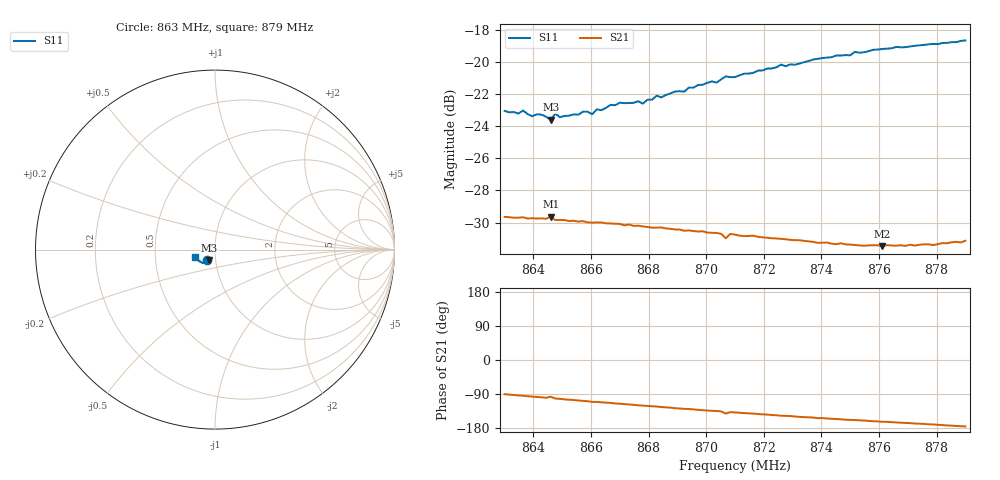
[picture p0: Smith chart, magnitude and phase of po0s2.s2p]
# HZ S RI R 50
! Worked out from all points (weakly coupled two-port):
!   101 points, 863 MHz to 879 MHz, reference 50 ohm
!   highest |S21| = -29.62 dB at 864.6 MHz (marker M1); lowest = -31.5 dB at 876.12 MHz (marker M2)
!   lowest |S11| = -23.6 dB at 864.6 MHz (marker M3), VSWR 1.14, Z = 46.6 - j5.44 ohm
!   |S11| at or under -10 dB: start of sweep to end of sweep
!   S12 and S22 are empty: the file has one direction only
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8.63e8  -0.0418 -0.0566  -0.000129 -0.033  0 0  0 0
8.6348e8  -0.0389 -0.057  -0.00199 -0.0327  0 0  0 0
8.6364e8  -0.039 -0.0588  -0.00252 -0.0328  0 0  0 0
8.6396e8  -0.0372 -0.0566  -0.00374 -0.0324  0 0  0 0
8.6428e8  -0.0361 -0.0582  -0.00484 -0.0323  0 0  0 0
8.646e8  -0.0317 -0.0581  -0.00392 -0.0328  0 0  0 0
8.6476e8  -0.0365 -0.0585  -0.00647 -0.0316  0 0  0 0
8.6492e8  -0.0349 -0.0575  -0.00702 -0.0315  0 0  0 0
8.6572e8  -0.0345 -0.0609  -0.00978 -0.0304  0 0  0 0
8.6604e8  -0.0391 -0.0566  -0.0111 -0.0296  0 0  0 0
8.6668e8  -0.037 -0.0635  -0.0124 -0.0289  0 0  0 0
8.6764e8  -0.0365 -0.0661  -0.0153 -0.0269  0 0  0 0
8.678e8  -0.0352 -0.0652  -0.0155 -0.0266  0 0  0 0
8.6828e8  -0.0377 -0.0688  -0.0165 -0.0257  0 0  0 0
8.6844e8  -0.0377 -0.0677  -0.0172 -0.0253  0 0  0 0
8.7036e8  -0.0465 -0.0726  -0.0206 -0.021  0 0  0 0
8.7068e8  -0.0514 -0.074  -0.0221 -0.0177  0 0  0 0
8.71e8  -0.0509 -0.0738  -0.0217 -0.0193  0 0  0 0
8.7372e8  -0.0705 -0.0733  -0.0243 -0.013  0 0  0 0
8.7612e8  -0.09 -0.0625  -0.0256 -0.00779  0 0  0 0
8.7644e8  -0.0923 -0.0602  -0.0258 -0.00737  0 0  0 0
8.79e8  -0.1097 -0.0391  -0.0277 -0.00224  0 0  0 0
